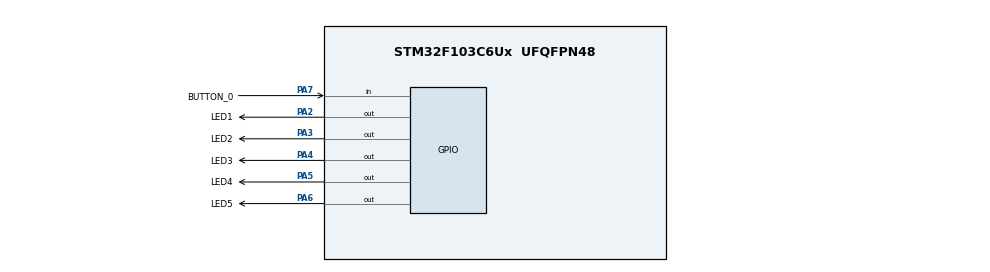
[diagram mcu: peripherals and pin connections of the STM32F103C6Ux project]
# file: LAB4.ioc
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Mcu.Family=STM32F1
Mcu.Name=STM32F103C6Ux
Mcu.Package=UFQFPN48
NVIC.PriorityGroup=NVIC_PRIORITYGROUP_4
NVIC.TIM2_IRQn=true\:0\:0\:false\:false\:true\:true\:true
PA2.GPIO_Label=LED1
PA2.Signal=GPIO_Output
PA3.GPIO_Label=LED2
PA3.Signal=GPIO_Output
PA4.GPIO_Label=LED3
PA4.Signal=GPIO_Output
PA5.GPIO_Label=LED4
PA5.Signal=GPIO_Output
PA6.GPIO_Label=LED5
PA6.Signal=GPIO_Output
PA7.GPIO_Label=BUTTON_0
PA7.Signal=GPIO_Input
ProjectManager.HeapSize=0x200
ProjectManager.StackSize=0x400
ProjectManager.TargetToolchain=STM32CubeIDE
RCC.APB1Freq_Value=8000000
RCC.APB2Freq_Value=8000000
TIM2.Period=9
TIM2.Prescaler=7999
VP_SYS_VS_ND.Mode=No_Debug
VP_TIM2_VS_ClockSourceINT.Mode=Internal
board=custom

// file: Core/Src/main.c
/* USER CODE BEGIN Header */
/**
  ******************************************************************************
  * @file           : main.c
  * @brief          : Main program body
  ******************************************************************************
  * @attention
  *
  * <h2><center>&copy; Copyright (c) 2022 STMicroelectronics.
  * All rights reserved.</center></h2>
  *
  * This software component is licensed by ST under BSD 3-Clause license,
  * the "License"; You may not use this file except in compliance with the
  * License. You may obtain a copy of the License at:
  *                        opensource.org/licenses/BSD-3-Clause
  *
  ******************************************************************************
  */
/* USER CODE END Header */
#include "main.h"

/* USER CODE BEGIN Includes */
#include "sched.h"
#include "Sheduler.h"
#include "timer.h"
#include "button.h"
/* USER CODE END Includes */

TIM_HandleTypeDef htim2;

void SystemClock_Config(void);
static void MX_GPIO_Init(void);
static void MX_TIM2_Init(void);

/* USER CODE BEGIN 0 */
void func1(void){
	HAL_GPIO_TogglePin(LED1_GPIO_Port, LED1_Pin);
}
void func2(void){
	HAL_GPIO_TogglePin(LED2_GPIO_Port, LED2_Pin);
}
void func3(void){
	HAL_GPIO_TogglePin(LED3_GPIO_Port, LED3_Pin);
}
void func4(void){
	HAL_GPIO_TogglePin(LED4_GPIO_Port, LED4_Pin);
}
void func5(void){
	HAL_GPIO_TogglePin(LED5_GPIO_Port, LED5_Pin);
}
void func6(void){
	if(is_button_pressed(0)){
		HAL_GPIO_TogglePin(LED5_GPIO_Port, LED5_Pin);
	}
}
/* USER CODE END 0 */

int main(void)
{

  /* MCU Configuration--------------------------------------------------------*/

  /* Reset of all peripherals, Initializes the Flash interface and the Systick. */
  HAL_Init();

  /* Configure the system clock */
  SystemClock_Config();

  /* Initialize all configured peripherals */
  MX_GPIO_Init();
  MX_TIM2_Init();
  /* USER CODE BEGIN 2 */
  HAL_TIM_Base_Start_IT(&htim2);
  SCH_Init();
  SCH_Add_Task(func1, 20, 500);
  SCH_Add_Task(func2, 30, 1000);
  SCH_Add_Task(func3, 40, 1500);
  SCH_Add_Task(func4, 50, 2000);
  SCH_Add_Task(func5, 2500, 0);
  SCH_Add_Task(button_reading, 10, 10);
  SCH_Add_Task(func6, 100, 10);
  /* USER CODE END 2 */

  /* Infinite loop */
  /* USER CODE BEGIN WHILE */
  while (1)
  {
	  SCH_Dispatch_Tasks();
    /* USER CODE END WHILE */

  }
}

void SystemClock_Config(void)
{
  RCC_OscInitTypeDef RCC_OscInitStruct = {0};
  RCC_ClkInitTypeDef RCC_ClkInitStruct = {0};

  /** Initializes the RCC Oscillators according to the specified parameters
  * in the RCC_OscInitTypeDef structure.
  */
  RCC_OscInitStruct.OscillatorType = RCC_OSCILLATORTYPE_HSI;
  RCC_OscInitStruct.HSIState = RCC_HSI_ON;
  RCC_OscInitStruct.HSICalibrationValue = RCC_HSICALIBRATION_DEFAULT;
  RCC_OscInitStruct.PLL.PLLState = RCC_PLL_NONE;
  if (HAL_RCC_OscConfig(&RCC_OscInitStruct) != HAL_OK)
  {
    Error_Handler();
  }
  /** Initializes the CPU, AHB and APB buses clocks
  */
  RCC_ClkInitStruct.ClockType = RCC_CLOCKTYPE_HCLK|RCC_CLOCKTYPE_SYSCLK
                              |RCC_CLOCKTYPE_PCLK1|RCC_CLOCKTYPE_PCLK2;
  RCC_ClkInitStruct.SYSCLKSource = RCC_SYSCLKSOURCE_HSI;
  RCC_ClkInitStruct.AHBCLKDivider = RCC_SYSCLK_DIV1;
  RCC_ClkInitStruct.APB1CLKDivider = RCC_HCLK_DIV1;
  RCC_ClkInitStruct.APB2CLKDivider = RCC_HCLK_DIV1;

  if (HAL_RCC_ClockConfig(&RCC_ClkInitStruct, FLASH_LATENCY_0) != HAL_OK)
  {
    Error_Handler();
  }
}

static void MX_TIM2_Init(void)
{

  TIM_ClockConfigTypeDef sClockSourceConfig = {0};
  TIM_MasterConfigTypeDef sMasterConfig = {0};

  htim2.Instance = TIM2;
  htim2.Init.Prescaler = 7999;
  htim2.Init.CounterMode = TIM_COUNTERMODE_UP;
  htim2.Init.Period = 9;
  htim2.Init.ClockDivision = TIM_CLOCKDIVISION_DIV1;
  htim2.Init.AutoReloadPreload = TIM_AUTORELOAD_PRELOAD_DISABLE;
  if (HAL_TIM_Base_Init(&htim2) != HAL_OK)
  {
    Error_Handler();
  }
  sClockSourceConfig.ClockSource = TIM_CLOCKSOURCE_INTERNAL;
  if (HAL_TIM_ConfigClockSource(&htim2, &sClockSourceConfig) != HAL_OK)
  {
    Error_Handler();
  }
  sMasterConfig.MasterOutputTrigger = TIM_TRGO_RESET;
  sMasterConfig.MasterSlaveMode = TIM_MASTERSLAVEMODE_DISABLE;
  if (HAL_TIMEx_MasterConfigSynchronization(&htim2, &sMasterConfig) != HAL_OK)
  {
    Error_Handler();
  }

}

static void MX_GPIO_Init(void)
{
  GPIO_InitTypeDef GPIO_InitStruct = {0};

  /* GPIO Ports Clock Enable */
  __HAL_RCC_GPIOA_CLK_ENABLE();

  /*Configure GPIO pin Output Level */
  HAL_GPIO_WritePin(GPIOA, LED1_Pin|LED2_Pin|LED3_Pin|LED4_Pin
                          |LED5_Pin, GPIO_PIN_RESET);

  /*Configure GPIO pins : LED1_Pin LED2_Pin LED3_Pin LED4_Pin
                           LED5_Pin */
  GPIO_InitStruct.Pin = LED1_Pin|LED2_Pin|LED3_Pin|LED4_Pin
                          |LED5_Pin;
  GPIO_InitStruct.Mode = GPIO_MODE_OUTPUT_PP;
  GPIO_InitStruct.Pull = GPIO_NOPULL;
  GPIO_InitStruct.Speed = GPIO_SPEED_FREQ_LOW;
  HAL_GPIO_Init(GPIOA, &GPIO_InitStruct);

  /*Configure GPIO pin : BUTTON_0_Pin */
  GPIO_InitStruct.Pin = BUTTON_0_Pin;
  GPIO_InitStruct.Mode = GPIO_MODE_INPUT;
  GPIO_InitStruct.Pull = GPIO_NOPULL;
  HAL_GPIO_Init(BUTTON_0_GPIO_Port, &GPIO_InitStruct);

}

void Error_Handler(void)
{
  __disable_irq();
  while (1)
  {
  }
}

/************************ (C) COPYRIGHT STMicroelectronics *****END OF FILE****/
